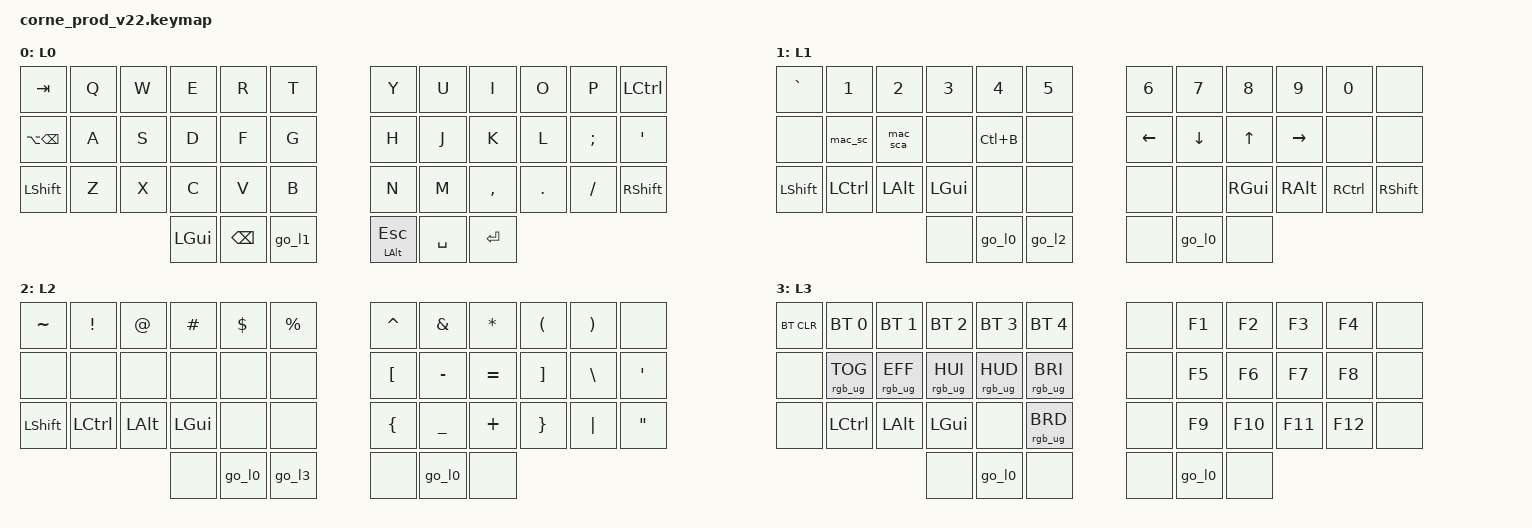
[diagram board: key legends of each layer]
/*
 * Copyright (c) 2020 The ZMK Contributors
 * SPDX-License-Identifier: MIT
 *
 * Corne Keymap v22
 * Reference: https://zmk.dev/docs/keymaps/behaviors/key-press
 * Notation (LP/RP/LT/RT, L0–L3, M1–M4/M1b–M4b): corne_prod_v22_notation.md
 *
 * Changes from v21:
 *  - [cc] L1 SC / SCA / C-b stay plain (send shortcut, stay on L1), as in v21;
 *    an earlier v22 draft returned them to L0, dropped by request.
 *  - [cc] RT2 on L1–L3 stays go_l0 (one tap back to L0), as in v21; an
 *    earlier v22 draft freed RT2 (&none), restored by request.
 *
 * v21 changes from v20 (kept for history):
 *  - [cc] L3: added underglow brightness up (G) / down (B) under HUD's row.
 *  - [cc] Per-layer underglow colour: layer-switch keys (LT3, LT2, RT2) are now
 *    macros go_l0..go_l3 that switch layer + set colour.
 *    L0 = white, L1 = green, L2 = blue, L3 = purple. Colour only; on/off
 *    is left to TOG on L3.
 *  - [cc] Layer colours use custom &rgb_hs (hue+sat only), so BRI/BRD
 *    brightness persists across layer switches (was reset every switch).
 *  - [cc] RT2 on L1–L3 = go_l0 (thumb way back to L0).
 *  - [cc] LP2 on L1–L3 = &none.
 *  - [cc] LT2 on L1–L3 = go_l0 (left-thumb way back to L0, mirrors RT2).
 *  - [cc] L0: RP2 = ' (was M2/Alt); RT3 = tap ESC / hold M2 (Alt) via &mt.
 *  - [cc] L2: * is now plain STAR (was KP_MULTIPLY, keypad code);
 *    LP3 = M4 (left Shift) for Shift-shortcuts like Cmd+Shift+[.
 *
 * v20 changes from v19 (kept for history):
 *  - [cc] Four layers only: L0 Default, L1 Lower, L2 Raise, L3 Func.
 *    v19 Num (3) and Template (5) removed; v19 Func moved to L3.
 *  - [cc] Layer switching is persistent (&to), no hold-layers:
 *      LT3 steps L0 → L1 → L2 → L3 (none on L3);
 *      LP2 on L1–L3 jumps back to L0.
 *  - [cc] No transparent keys: every unused key is &none.
 *  - [cc] L0 outer/thumb keys reassigned: LP1 TAB, LP2 Alt+BSPC, LP3 LShift,
 *    RP1 Ctrl, RP2 Alt, RP3 RShift, LT1 Cmd, LT2 BSPC, RT3 ESC, RT2 SPC, RT1 ENT.
 *    All modifiers are plain holds (no sticky keys, no mod-taps).
 *  - [cc] L1–L3: Ctrl/Alt/Cmd on Z X C; L1 also has mirrored right mods on
 *    / . , and Shift on LP3/RP3.
 *  - [cc] L2: ' and " moved to RP2/RP3; ~ on LP1.
 *  - [cc] L3: F1–F12 on the U–/ 4×3 block, RGB on A S D F, BT_CLR on LP1;
 *    media keys removed.
 *  - [cc] Removed unused macros/behaviors (ctrl_alt_*, cmd_*, macos_input,
 *    lm_lwr_lgui, ht_lm_esc, ht_sl_mo) and the Num layer.
 *  - [cc] Each layer has a display-name so the OLED shows L0–L3.
 */

#include <behaviors.dtsi>
#include <dt-bindings/zmk/keys.h>
#include <dt-bindings/zmk/bt.h>
#include <dt-bindings/zmk/rgb.h>

// ============================================================
// Hardware
// ============================================================

&led_strip {
    chain-length = <27>;
};

// ============================================================
// Layer indices
// ============================================================

#define L0 0
#define L1 1
#define L2 2
#define L3 3


// ============================================================
// Behaviors
// ============================================================

/ {
    behaviors {
        // [cc] v21: custom behavior from this repo's module (zephyr/module.yml).
        // &rgb_hs <hue> <sat>: set underglow colour, keep current brightness.
        // Node name kept short (split transport sends behavior names).
        rgb_hs: rgb_hs {
            compatible = "zmk,behavior-rgb-hue-sat";
            #binding-cells = <2>;
        };
    };
};

// ============================================================
// Macros
// ============================================================

/ {
    macros {

        // macOS screenshot to clipboard (Cmd+Ctrl+Shift+4)
        mac_sc: macos_screenshot {
            compatible = "zmk,behavior-macro";
            #binding-cells = <0>;
            bindings
                = <&macro_press   &kp LGUI>
                , <&macro_press   &kp LCTRL>
                , <&macro_press   &kp LSHFT>
                , <&macro_tap     &kp N4>
                , <&macro_release &kp LSHFT>
                , <&macro_release &kp LCTRL>
                , <&macro_release &kp LGUI>
                ;
        };

        // macOS screenshot with annotation (Cmd+Shift+4)
        mac_sca: macos_screenshot_with_annotation {
            compatible = "zmk,behavior-macro";
            #binding-cells = <0>;
            bindings
                = <&macro_press   &kp LGUI>
                , <&macro_press   &kp LSHFT>
                , <&macro_tap     &kp N4>
                , <&macro_release &kp LSHFT>
                , <&macro_release &kp LGUI>
                ;
        };

        // [cc] v21: per-layer underglow colour. Stock ZMK has no per-layer
        // RGB, so every layer-switch key is a macro that switches the layer
        // AND sets the colour. They only set the colour, never on/off: on/off
        // is controlled solely by TOG on L3. (HSB: hue 0–360, sat 0–100,
        // brightness 0–100.)
        // [cc] Uses the custom &rgb_hs behavior (src/behaviors/behavior_rgb_hue_sat.c)
        // which sets hue + saturation only, so BRI/BRD brightness persists
        // across layer switches.
        // Effect should be "solid" (EFF) for the colour to show cleanly.

        // L0: white (sat 0)
        go_l0: go_l0 {
            compatible = "zmk,behavior-macro";
            #binding-cells = <0>;
            wait-ms = <0>;
            tap-ms  = <0>;
            bindings
                = <&macro_tap &rgb_hs 0 0>
                , <&macro_tap &to L0>
                ;
        };

        // L1: green
        go_l1: go_l1 {
            compatible = "zmk,behavior-macro";
            #binding-cells = <0>;
            wait-ms = <0>;
            tap-ms  = <0>;
            bindings
                = <&macro_tap &rgb_hs 120 100>
                , <&macro_tap &to L1>
                ;
        };

        // L2: blue
        go_l2: go_l2 {
            compatible = "zmk,behavior-macro";
            #binding-cells = <0>;
            wait-ms = <0>;
            tap-ms  = <0>;
            bindings
                = <&macro_tap &rgb_hs 240 100>
                , <&macro_tap &to L2>
                ;
        };

        // L3: purple
        go_l3: go_l3 {
            compatible = "zmk,behavior-macro";
            #binding-cells = <0>;
            wait-ms = <0>;
            tap-ms  = <0>;
            bindings
                = <&macro_tap &rgb_hs 280 100>
                , <&macro_tap &to L3>
                ;
        };
    };
};

// ============================================================
// Keymap
// ============================================================

/ {
    keymap {
        compatible = "zmk,keymap";

        // ----------------------------------------------------
        // L0 — Default (QWERTY)
        //
        // │ TAB    │ Q │ W │ E │ R │ T │   │ Y │ U │ I │ O │ P │ M1  │
        // │ M2+BSPC│ A │ S │ D │ F │ G │   │ H │ J │ K │ L │ ; │ '   │
        // │ M4     │ Z │ X │ C │ V │ B │   │ N │ M │ , │ . │ / │ M4b │
        //        M3 │ BSPC │ →L1     ESC/M2 │ SPC │ ENT
        // ----------------------------------------------------
        default_layer {
            display-name = "L0";
            bindings = <
   &kp TAB       &kp Q  &kp W  &kp E  &kp R     &kp T        &kp Y    &kp U      &kp I      &kp O    &kp P     &kp LCTRL
   &kp LA(BSPC)  &kp A  &kp S  &kp D  &kp F     &kp G        &kp H    &kp J      &kp K      &kp L    &kp SEMI  &kp SQT 
   &kp LSHFT     &kp Z  &kp X  &kp C  &kp V     &kp B        &kp N    &kp M      &kp COMMA  &kp DOT  &kp FSLH  &kp RSHFT
                               &kp LGUI  &kp BSPC  &go_l1    &mt LALT ESC  &kp SPACE  &kp RET
            >;
        };

        // ----------------------------------------------------
        // [cc] Usage convention for leaving L1/L2/L3 (requested 2026-11-01):
        //   want a space next  → press RT2 to go back to L0 (RT2 is the Space
        //                        thumb on L0, so the next RT2 tap types it);
        //   no space next      → press LT2 to go back to L0.
        //   Either key only switches layer; neither sends a character itself.
        // ----------------------------------------------------
        // L1 — Lower: numbers, screenshots, Ctrl+B, arrows, mods
        //
        // │ `   │ 1  │ 2   │ 3  │ 4   │ 5 │   │ 6 │ 7 │ 8   │ 9   │ 0   │ ✕   │
        // │ ✕   │ SC │ SCA │ ✕  │ C-b │ ✕ │   │ ← │ ↓ │ ↑   │ →   │ ✕   │ ✕   │
        // │ M4  │ M1 │ M2  │ M3 │ ✕   │ ✕ │   │ ✕ │ ✕ │ M3b │ M2b │ M1b │ M4b │
        //        ✕ │ →L0 │ →L2     ✕ │ →L0 │ ✕
        // ----------------------------------------------------
        lower_layer {
            display-name = "L1";
            bindings = <
   &kp GRAVE  &kp N1     &kp N2    &kp N3    &kp N4     &kp N5     &kp N6    &kp N7    &kp N8    &kp N9     &kp N0     &none
   &none      &mac_sc    &mac_sca  &none     &kp LC(B)  &none      &kp LEFT  &kp DOWN  &kp UP    &kp RIGHT  &none      &none
   &kp LSHFT  &kp LCTRL  &kp LALT  &kp LGUI  &none      &none      &none     &none     &kp RGUI  &kp RALT   &kp RCTRL  &kp RSHFT
                                   &none     &go_l0     &go_l2     &none     &go_l0    &none
            >;
        };

        // ----------------------------------------------------
        // L2 — Raise: symbols
        //
        // │ ~   │ !  │ @  │ #  │ $ │ % │   │ ^ │ & │ * │ ( │ ) │ ✕ │
        // │ ✕   │ ✕  │ ✕  │ ✕  │ ✕ │ ✕ │   │ [ │ - │ = │ ] │ \ │ ' │
        // │ M4  │ M1 │ M2 │ M3 │ ✕ │ ✕ │   │ { │ _ │ + │ } │ | │ " │
        //        ✕ │ →L0 │ →L3     ✕ │ →L0 │ ✕
        // ----------------------------------------------------
        raise_layer {
            display-name = "L2";
            bindings = <
   &kp TILDE  &kp EXCL   &kp AT    &kp HASH  &kp DLLR  &kp PRCNT    &kp CARET  &kp AMPS   &kp STAR         &kp LPAR  &kp RPAR  &none
   &none      &none      &none     &none     &none     &none        &kp LBKT   &kp MINUS  &kp EQUAL        &kp RBKT  &kp BSLH  &kp SQT
   &kp LSHFT  &kp LCTRL  &kp LALT  &kp LGUI  &none     &none        &kp LBRC   &kp UNDER  &kp PLUS         &kp RBRC  &kp PIPE  &kp DQT
                                   &none     &go_l0    &go_l3       &none      &go_l0     &none
            >;
        };

        // ----------------------------------------------------
        // L3 — Func: Bluetooth, RGB underglow, F1–F12
        //
        // │ BT_CLR │ BT0 │ BT1 │ BT2 │ BT3 │ BT4 │   │ ✕ │ F1 │ F2  │ F3  │ F4  │ ✕ │
        // │ ✕      │ TOG │ EFF │ HUI │ HUD │ BRI │   │ ✕ │ F5 │ F6  │ F7  │ F8  │ ✕ │
        // │ ✕      │ M1  │ M2  │ M3  │ ✕   │ BRD │   │ ✕ │ F9 │ F10 │ F11 │ F12 │ ✕ │
        //        ✕ │ →L0 │ ✕     ✕ │ →L0 │ ✕
        // BRI/BRD = underglow brightness up/down (added in v21).
        // LT3 is &none here: the cycle stops at L3; LT2 / RT2 exit to L0.
        // ----------------------------------------------------
        func_layer {
            display-name = "L3";
            bindings = <
   &bt BT_CLR  &bt BT_SEL 0     &bt BT_SEL 1     &bt BT_SEL 2     &bt BT_SEL 3     &bt BT_SEL 4    &none  &kp F1  &kp F2   &kp F3   &kp F4   &none
   &none       &rgb_ug RGB_TOG  &rgb_ug RGB_EFF  &rgb_ug RGB_HUI  &rgb_ug RGB_HUD  &rgb_ug RGB_BRI &none  &kp F5  &kp F6   &kp F7   &kp F8   &none
   &none       &kp LCTRL        &kp LALT         &kp LGUI         &none            &rgb_ug RGB_BRD &none  &kp F9  &kp F10  &kp F11  &kp F12  &none
                                                 &none            &go_l0           &none           &none  &go_l0  &none
            >;
        };
    };
};
